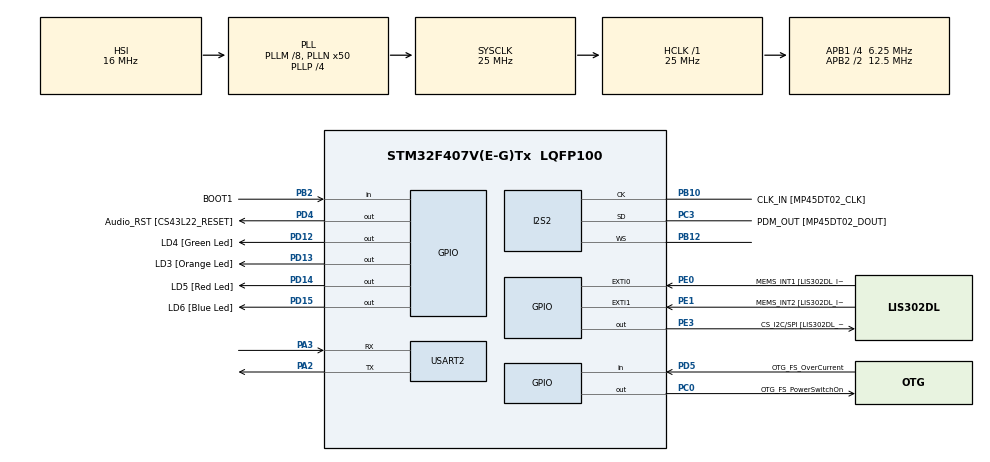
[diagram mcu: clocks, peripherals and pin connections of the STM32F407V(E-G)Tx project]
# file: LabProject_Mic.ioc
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I2S2.AudioFreq=I2S_AUDIOFREQ_192K
I2S2.ErrorAudioFreq=0.8 %
I2S2.Mode=I2S_MODE_MASTER_RX
I2S2.RealAudioFreq=193.548 KHz
Mcu.Family=STM32F4
Mcu.Name=STM32F407V(E-G)Tx
Mcu.Package=LQFP100
NVIC.PriorityGroup=NVIC_PRIORITYGROUP_0
PA10.GPIO_Label=OTG_FS_ID
PA10.GPIO_Mode=GPIO_MODE_AF_PP
PA10.GPIO_PuPd=GPIO_NOPULL
PA10.GPIO_Speed=GPIO_SPEED_FREQ_LOW
PA10.Signal=USB_OTG_FS_ID
PA11.GPIO_Label=OTG_FS_DM
PA11.GPIO_Mode=GPIO_MODE_AF_PP
PA11.GPIO_PuPd=GPIO_NOPULL
PA11.GPIO_Speed=GPIO_SPEED_FREQ_LOW
PA11.Signal=USB_OTG_FS_DM
PA12.GPIO_Label=OTG_FS_DP
PA12.GPIO_Mode=GPIO_MODE_AF_PP
PA12.GPIO_PuPd=GPIO_NOPULL
PA12.GPIO_Speed=GPIO_SPEED_FREQ_LOW
PA12.Signal=USB_OTG_FS_DP
PA13.GPIO_Label=SWDIO
PA13.Signal=SYS_JTMS-SWDIO
PA14.GPIO_Label=SWCLK
PA14.Signal=SYS_JTCK-SWCLK
PA2.Mode=Asynchronous
PA2.Signal=USART2_TX
PA3.Mode=Asynchronous
PA3.Signal=USART2_RX
PA4.GPIO_Label=I2S3_WS [CS43L22_LRCK]
PA4.GPIO_Mode=GPIO_MODE_AF_PP
PA4.GPIO_PuPd=GPIO_NOPULL
PA4.GPIO_Speed=GPIO_SPEED_FREQ_LOW
PA4.Signal=I2S3_WS
PA5.GPIO_Label=SPI1_SCK [LIS302DL_SCL/SPC]
PA5.GPIO_Mode=GPIO_MODE_AF_PP
PA5.GPIO_PuPd=GPIO_NOPULL
PA5.GPIO_Speed=GPIO_SPEED_FREQ_LOW
PA5.Signal=SPI1_SCK
PA6.GPIO_Label=SPI1_MISO [LIS302DL_SDO]
PA6.GPIO_Mode=GPIO_MODE_AF_PP
PA6.GPIO_PuPd=GPIO_NOPULL
PA6.GPIO_Speed=GPIO_SPEED_FREQ_LOW
PA6.Signal=SPI1_MISO
PA7.GPIO_Label=SPI1_MOSI [LIS302DL_SDA/SDI/SDO]
PA7.GPIO_Mode=GPIO_MODE_AF_PP
PA7.GPIO_PuPd=GPIO_NOPULL
PA7.GPIO_Speed=GPIO_SPEED_FREQ_LOW
PA7.Signal=SPI1_MOSI
PA9.GPIO_Label=VBUS_FS
PA9.GPIO_Mode=GPIO_MODE_INPUT
PA9.GPIO_PuPd=GPIO_NOPULL
PA9.Signal=USB_OTG_FS_VBUS
PB10.GPIO_Label=CLK_IN [MP45DT02_CLK]
PB10.GPIO_Mode=GPIO_MODE_AF_PP
PB10.GPIO_PuPd=GPIO_NOPULL
PB10.GPIO_Speed=GPIO_SPEED_FREQ_LOW
PB10.Mode=Half_Duplex_Master
PB10.Signal=I2S2_CK
PB12.Mode=Half_Duplex_Master
PB12.Signal=I2S2_WS
PB2.GPIO_Label=BOOT1
PB2.GPIO_Mode=GPIO_MODE_INPUT
PB2.GPIO_PuPd=GPIO_NOPULL
PB2.Signal=GPIO_Input
PB3.GPIO_Label=SWO
PB3.Signal=SYS_JTDO-SWO
PB6.GPIO_Label=Audio_SCL [CS43L22_SCL]
PB6.GPIO_Mode=GPIO_MODE_AF_OD
PB6.GPIO_PuPd=GPIO_NOPULL
PB6.GPIO_Speed=GPIO_SPEED_FREQ_LOW
PB6.Signal=I2C1_SCL
PB9.GPIO_Label=Audio_SDA [CS43L22_SDA]
PB9.GPIO_Mode=GPIO_MODE_AF_OD
PB9.GPIO_PuPd=GPIO_NOPULL
PB9.GPIO_Speed=GPIO_SPEED_FREQ_LOW
PB9.Signal=I2C1_SDA
PC0.GPIO_Label=OTG_FS_PowerSwitchOn
PC0.GPIO_PuPd=GPIO_NOPULL
PC0.GPIO_Speed=GPIO_SPEED_FREQ_LOW
PC0.PinState=GPIO_PIN_SET
PC0.Signal=GPIO_Output
PC10.GPIO_Label=I2S3_SCK [CS43L22_SCLK]
PC10.GPIO_Mode=GPIO_MODE_AF_PP
PC10.GPIO_PuPd=GPIO_NOPULL
PC10.GPIO_Speed=GPIO_SPEED_FREQ_LOW
PC10.Signal=I2S3_CK
PC12.GPIO_Label=I2S3_SD [CS43L22_SDIN]
PC12.GPIO_Mode=GPIO_MODE_AF_PP
PC12.GPIO_PuPd=GPIO_NOPULL
PC12.GPIO_Speed=GPIO_SPEED_FREQ_LOW
PC12.Signal=I2S3_SD
PC14-OSC32_IN.GPIO_Label=PC14-OSC32_IN
PC14-OSC32_IN.Signal=RCC_OSC32_IN
PC15-OSC32_OUT.GPIO_Label=PC15-OSC32_OUT
PC15-OSC32_OUT.Signal=RCC_OSC32_OUT
PC3.GPIO_Label=PDM_OUT [MP45DT02_DOUT]
PC3.GPIO_Mode=GPIO_MODE_AF_PP
PC3.GPIO_PuPd=GPIO_NOPULL
PC3.GPIO_Speed=GPIO_SPEED_FREQ_LOW
PC3.Mode=Half_Duplex_Master
PC3.Signal=I2S2_SD
PC7.GPIO_Label=I2S3_MCK [CS43L22_MCLK]
PC7.GPIO_Mode=GPIO_MODE_AF_PP
PC7.GPIO_PuPd=GPIO_NOPULL
PC7.GPIO_Speed=GPIO_SPEED_FREQ_LOW
PC7.Signal=I2S3_MCK
PD12.GPIO_Label=LD4 [Green Led]
PD12.GPIO_PuPd=GPIO_NOPULL
PD12.GPIO_Speed=GPIO_SPEED_FREQ_LOW
PD12.Signal=GPIO_Output
PD13.GPIO_Label=LD3 [Orange Led]
PD13.GPIO_PuPd=GPIO_NOPULL
PD13.GPIO_Speed=GPIO_SPEED_FREQ_LOW
PD13.Signal=GPIO_Output
PD14.GPIO_Label=LD5 [Red Led]
PD14.GPIO_PuPd=GPIO_NOPULL
PD14.GPIO_Speed=GPIO_SPEED_FREQ_LOW
PD14.Signal=GPIO_Output
PD15.GPIO_Label=LD6 [Blue Led]
PD15.GPIO_PuPd=GPIO_NOPULL
PD15.GPIO_Speed=GPIO_SPEED_FREQ_LOW
PD15.Signal=GPIO_Output
PD4.GPIO_Label=Audio_RST [CS43L22_RESET]
PD4.GPIO_PuPd=GPIO_NOPULL
PD4.GPIO_Speed=GPIO_SPEED_FREQ_LOW
PD4.Signal=GPIO_Output
PD5.GPIO_Label=OTG_FS_OverCurrent
PD5.GPIO_Mode=GPIO_MODE_INPUT
PD5.GPIO_PuPd=GPIO_NOPULL
PD5.Signal=GPIO_Input
PE0.GPIO_Label=MEMS_INT1 [LIS302DL_INT1]
PE0.Signal=GPXTI0
PE1.GPIO_Label=MEMS_INT2 [LIS302DL_INT2]
PE1.GPIO_ModeDefaultEXTI=GPIO_MODE_EVT_RISING
PE1.GPIO_PuPd=GPIO_NOPULL
PE1.Signal=GPXTI1
PE3.GPIO_Label=CS_I2C/SPI [LIS302DL_CS_I2C/SPI]
PE3.GPIO_PuPd=GPIO_NOPULL
PE3.GPIO_Speed=GPIO_SPEED_FREQ_LOW
PE3.Signal=GPIO_Output
PH0-OSC_IN.GPIO_Label=PH0-OSC_IN
PH0-OSC_IN.Signal=RCC_OSC_IN
PH1-OSC_OUT.GPIO_Label=PH1-OSC_OUT
PH1-OSC_OUT.Signal=RCC_OSC_OUT
ProjectManager.HeapSize=0x200
ProjectManager.StackSize=0x400
ProjectManager.TargetToolchain=SW4STM32
RCC.48MHZClocksFreq_Value=14285714.285714285
RCC.AHBFreq_Value=25000000
RCC.APB1CLKDivider=RCC_HCLK_DIV4
RCC.APB1Freq_Value=6250000
RCC.APB1TimFreq_Value=12500000
RCC.APB2CLKDivider=RCC_HCLK_DIV2
RCC.APB2Freq_Value=12500000
RCC.APB2TimFreq_Value=25000000
RCC.CortexFreq_Value=25000000
RCC.HCLKFreq_Value=25000000
RCC.HSE_VALUE=8000000
RCC.HSI_VALUE=16000000
RCC.LSE_VALUE=32768
RCC.PLLM=8
RCC.PLLN=50
RCC.PLLP=RCC_PLLP_DIV4
RCC.PLLQ=7
RCC.SYSCLKFreq_VALUE=25000000
RCC.SYSCLKSource=RCC_SYSCLKSOURCE_PLLCLK
RCC.VCOOutputFreq_Value=100000000
board=STM32F407G-DISC1

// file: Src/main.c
/**
  ******************************************************************************
  * File Name          : main.c
  * Description        : Main program body
  ******************************************************************************
  *
  * COPYRIGHT(c) 2016 STMicroelectronics
  *
  * Redistribution and use in source and binary forms, with or without modification,
  * are permitted provided that the following conditions are met:
  *   1. Redistributions of source code must retain the above copyright notice,
  *      this list of conditions and the following disclaimer.
  *   2. Redistributions in binary form must reproduce the above copyright notice,
  *      this list of conditions and the following disclaimer in the documentation
  *      and/or other materials provided with the distribution.
  *   3. Neither the name of STMicroelectronics nor the names of its contributors
  *      may be used to endorse or promote products derived from this software
  *      without specific prior written permission.
  *
  * THIS SOFTWARE IS PROVIDED BY THE COPYRIGHT HOLDERS AND CONTRIBUTORS "AS IS"
  * AND ANY EXPRESS OR IMPLIED WARRANTIES, INCLUDING, BUT NOT LIMITED TO, THE
  * IMPLIED WARRANTIES OF MERCHANTABILITY AND FITNESS FOR A PARTICULAR PURPOSE ARE
  * DISCLAIMED. IN NO EVENT SHALL THE COPYRIGHT HOLDER OR CONTRIBUTORS BE LIABLE
  * FOR ANY DIRECT, INDIRECT, INCIDENTAL, SPECIAL, EXEMPLARY, OR CONSEQUENTIAL
  * DAMAGES (INCLUDING, BUT NOT LIMITED TO, PROCUREMENT OF SUBSTITUTE GOODS OR
  * SERVICES; LOSS OF USE, DATA, OR PROFITS; OR BUSINESS INTERRUPTION) HOWEVER
  * CAUSED AND ON ANY THEORY OF LIABILITY, WHETHER IN CONTRACT, STRICT LIABILITY,
  * OR TORT (INCLUDING NEGLIGENCE OR OTHERWISE) ARISING IN ANY WAY OUT OF THE USE
  * OF THIS SOFTWARE, EVEN IF ADVISED OF THE POSSIBILITY OF SUCH DAMAGE.
  *
  ******************************************************************************
  */
#include "main.h"
#include "stm32f4xx_hal.h"

I2S_HandleTypeDef hi2s2;

UART_HandleTypeDef huart2;

/* USER CODE BEGIN PV */
/* Private variables ---------------------------------------------------------*/

/* USER CODE END PV */

void SystemClock_Config(void);
void Error_Handler(void);
static void MX_GPIO_Init(void);
static void MX_I2S2_Init(void);
static void MX_USART2_UART_Init(void);

/* USER CODE BEGIN PFP */
/* Private function prototypes -----------------------------------------------*/

/* USER CODE END PFP */

/* USER CODE BEGIN 0 */

float float_abs(float in){
	return in < 0 ? -in : in;
}

#define PDM_BUFFER_SIZE 200
#define PCM_BUFFER_SIZE 20
#define LEAKY_KEEP_RATE 0.95
#define UART_DEBUG_TICK_RATE 100
#define PDM_BLOCK_SIZE_BITS 8

/* USER CODE END 0 */

int main(void)
{

  /* USER CODE BEGIN 1 */
  uint8_t i;
  uint16_t pdm_buffer[PDM_BUFFER_SIZE]; // Buffer for pdm value from hi2s2 (Mic)
  uint16_t pdm_value = 0;				// For keeping pcm value calculated from pdm_value
  int8_t pcm_value = 0;				// value range is -127 to 127
  int pcm_count = 0 ;
  char uart_temp_display_buffer[100];

  float leaky_pcm_buffer = 0.0;			// Fast Estimation of moving average of PDM
  float leaky_amp_buffer = 0.0; 		// Fast Estimation of moving average of abs(PCM)

  float max_amp = 0;

  /* USER CODE END 1 */

  /* MCU Configuration----------------------------------------------------------*/

  /* Reset of all peripherals, Initializes the Flash interface and the Systick. */
  HAL_Init();

  /* Configure the system clock */
  SystemClock_Config();

  /* Initialize all configured peripherals */
  MX_GPIO_Init();
  MX_I2S2_Init();
  MX_USART2_UART_Init();

  /* Infinite loop */
  while (1)
  {

  /* USER CODE BEGIN 3 */
	  HAL_I2S_Receive(&hi2s2,pdm_buffer,PDM_BUFFER_SIZE,1000); // Receive PDM from Mic

	  for(i=0;i<PDM_BUFFER_SIZE;i++){
		  pcm_value = -PDM_BLOCK_SIZE_BITS/2;
		  pdm_value = pdm_buffer[i];
		  //calculate PCM value
		  while(pdm_value!=0){
			  pcm_value++;
			  pdm_value ^= pdm_value & -pdm_value;
		  }
		  leaky_pcm_buffer += pcm_value;
		  leaky_pcm_buffer *= LEAKY_KEEP_RATE;
		  leaky_amp_buffer += float_abs(leaky_pcm_buffer);
		  leaky_amp_buffer *= LEAKY_KEEP_RATE;
	  }
	  pcm_count++;
	  if (pcm_value > 9){ // if sound is loud enough (range 10-16)
		  HAL_GPIO_WritePin(GPIOD, GPIO_PIN_13, GPIO_PIN_SET);
	  }
	  else{
		  HAL_GPIO_WritePin(GPIOD, GPIO_PIN_13, GPIO_PIN_RESET);
	  }

	  if(max_amp<leaky_amp_buffer) max_amp = leaky_amp_buffer;

	  if(PCM_BUFFER_SIZE==pcm_count){
		  sprintf(uart_temp_display_buffer, "L : %d\t", (int)max_amp);
		  HAL_UART_Transmit(&huart2, (uint8_t*)uart_temp_display_buffer, strlen(uart_temp_display_buffer), 100);
		  max_amp = max_amp-1448;
		  while(max_amp>0){
			  max_amp=max_amp-74;
			  HAL_UART_Transmit(&huart2,"I", 1, 100);
		  }
		  HAL_UART_Transmit(&huart2, "\n\r", 2, 100);
		  max_amp = 0;
		  pcm_count=0;
	  }
	  //HAL_Delay(100);
  }
  /* USER CODE END 3 */

}

/** System Clock Configuration
*/
void SystemClock_Config(void)
{

  RCC_OscInitTypeDef RCC_OscInitStruct;
  RCC_ClkInitTypeDef RCC_ClkInitStruct;
  RCC_PeriphCLKInitTypeDef PeriphClkInitStruct;

    /**Configure the main internal regulator output voltage
    */
  __HAL_RCC_PWR_CLK_ENABLE();

  __HAL_PWR_VOLTAGESCALING_CONFIG(PWR_REGULATOR_VOLTAGE_SCALE1);

    /**Initializes the CPU, AHB and APB busses clocks
    */
  RCC_OscInitStruct.OscillatorType = RCC_OSCILLATORTYPE_HSI;
  RCC_OscInitStruct.HSIState = RCC_HSI_ON;
  RCC_OscInitStruct.HSICalibrationValue = 16;
  RCC_OscInitStruct.PLL.PLLState = RCC_PLL_ON;
  RCC_OscInitStruct.PLL.PLLSource = RCC_PLLSOURCE_HSI;
  RCC_OscInitStruct.PLL.PLLM = 8;
  RCC_OscInitStruct.PLL.PLLN = 50;
  RCC_OscInitStruct.PLL.PLLP = RCC_PLLP_DIV4;
  RCC_OscInitStruct.PLL.PLLQ = 7;
  if (HAL_RCC_OscConfig(&RCC_OscInitStruct) != HAL_OK)
  {
    Error_Handler();
  }

    /**Initializes the CPU, AHB and APB busses clocks
    */
  RCC_ClkInitStruct.ClockType = RCC_CLOCKTYPE_HCLK|RCC_CLOCKTYPE_SYSCLK
                              |RCC_CLOCKTYPE_PCLK1|RCC_CLOCKTYPE_PCLK2;
  RCC_ClkInitStruct.SYSCLKSource = RCC_SYSCLKSOURCE_PLLCLK;
  RCC_ClkInitStruct.AHBCLKDivider = RCC_SYSCLK_DIV1;
  RCC_ClkInitStruct.APB1CLKDivider = RCC_HCLK_DIV4;
  RCC_ClkInitStruct.APB2CLKDivider = RCC_HCLK_DIV2;

  if (HAL_RCC_ClockConfig(&RCC_ClkInitStruct, FLASH_LATENCY_0) != HAL_OK)
  {
    Error_Handler();
  }

  PeriphClkInitStruct.PeriphClockSelection = RCC_PERIPHCLK_I2S;
  PeriphClkInitStruct.PLLI2S.PLLI2SN = 192;
  PeriphClkInitStruct.PLLI2S.PLLI2SR = 2;
  if (HAL_RCCEx_PeriphCLKConfig(&PeriphClkInitStruct) != HAL_OK)
  {
    Error_Handler();
  }

    /**Configure the Systick interrupt time
    */
  HAL_SYSTICK_Config(HAL_RCC_GetHCLKFreq()/1000);

    /**Configure the Systick
    */
  HAL_SYSTICK_CLKSourceConfig(SYSTICK_CLKSOURCE_HCLK);

  /* SysTick_IRQn interrupt configuration */
  HAL_NVIC_SetPriority(SysTick_IRQn, 0, 0);
}

/* I2S2 init function */
static void MX_I2S2_Init(void)
{

  hi2s2.Instance = SPI2;
  hi2s2.Init.Mode = I2S_MODE_MASTER_RX;
  hi2s2.Init.Standard = I2S_STANDARD_PHILIPS;
  hi2s2.Init.DataFormat = I2S_DATAFORMAT_16B;
  hi2s2.Init.MCLKOutput = I2S_MCLKOUTPUT_DISABLE;
  hi2s2.Init.AudioFreq = I2S_AUDIOFREQ_44K;
  hi2s2.Init.CPOL = I2S_CPOL_LOW;
  hi2s2.Init.ClockSource = I2S_CLOCK_PLL;
  hi2s2.Init.FullDuplexMode = I2S_FULLDUPLEXMODE_DISABLE;
  if (HAL_I2S_Init(&hi2s2) != HAL_OK)
  {
    Error_Handler();
  }

}

/* USART2 init function */
static void MX_USART2_UART_Init(void)
{

  huart2.Instance = USART2;
  huart2.Init.BaudRate = 115200;
  huart2.Init.WordLength = UART_WORDLENGTH_8B;
  huart2.Init.StopBits = UART_STOPBITS_1;
  huart2.Init.Parity = UART_PARITY_NONE;
  huart2.Init.Mode = UART_MODE_TX_RX;
  huart2.Init.HwFlowCtl = UART_HWCONTROL_NONE;
  huart2.Init.OverSampling = UART_OVERSAMPLING_16;
  if (HAL_UART_Init(&huart2) != HAL_OK)
  {
    Error_Handler();
  }

}

/** Configure pins as
        * Analog
        * Input
        * Output
        * EVENT_OUT
        * EXTI
     PA4   ------> I2S3_WS
     PA5   ------> SPI1_SCK
     PA6   ------> SPI1_MISO
     PA7   ------> SPI1_MOSI
     PC7   ------> I2S3_MCK
     PA9   ------> USB_OTG_FS_VBUS
     PA10   ------> USB_OTG_FS_ID
     PA11   ------> USB_OTG_FS_DM
     PA12   ------> USB_OTG_FS_DP
     PC10   ------> I2S3_CK
     PC12   ------> I2S3_SD
     PB6   ------> I2C1_SCL
     PB9   ------> I2C1_SDA
*/
static void MX_GPIO_Init(void)
{

  GPIO_InitTypeDef GPIO_InitStruct;

  /* GPIO Ports Clock Enable */
  __HAL_RCC_GPIOE_CLK_ENABLE();
  __HAL_RCC_GPIOC_CLK_ENABLE();
  __HAL_RCC_GPIOH_CLK_ENABLE();
  __HAL_RCC_GPIOA_CLK_ENABLE();
  __HAL_RCC_GPIOB_CLK_ENABLE();
  __HAL_RCC_GPIOD_CLK_ENABLE();

  /*Configure GPIO pin Output Level */
  HAL_GPIO_WritePin(CS_I2C_SPI_GPIO_Port, CS_I2C_SPI_Pin, GPIO_PIN_RESET);

  /*Configure GPIO pin Output Level */
  HAL_GPIO_WritePin(OTG_FS_PowerSwitchOn_GPIO_Port, OTG_FS_PowerSwitchOn_Pin, GPIO_PIN_SET);

  /*Configure GPIO pin Output Level */
  HAL_GPIO_WritePin(GPIOD, LD4_Pin|LD3_Pin|LD5_Pin|LD6_Pin
                          |Audio_RST_Pin, GPIO_PIN_RESET);

  /*Configure GPIO pin : CS_I2C_SPI_Pin */
  GPIO_InitStruct.Pin = CS_I2C_SPI_Pin;
  GPIO_InitStruct.Mode = GPIO_MODE_OUTPUT_PP;
  GPIO_InitStruct.Pull = GPIO_NOPULL;
  GPIO_InitStruct.Speed = GPIO_SPEED_FREQ_LOW;
  HAL_GPIO_Init(CS_I2C_SPI_GPIO_Port, &GPIO_InitStruct);

  /*Configure GPIO pin : OTG_FS_PowerSwitchOn_Pin */
  GPIO_InitStruct.Pin = OTG_FS_PowerSwitchOn_Pin;
  GPIO_InitStruct.Mode = GPIO_MODE_OUTPUT_PP;
  GPIO_InitStruct.Pull = GPIO_NOPULL;
  GPIO_InitStruct.Speed = GPIO_SPEED_FREQ_LOW;
  HAL_GPIO_Init(OTG_FS_PowerSwitchOn_GPIO_Port, &GPIO_InitStruct);

  /*Configure GPIO pin : PA4 */
  GPIO_InitStruct.Pin = GPIO_PIN_4;
  GPIO_InitStruct.Mode = GPIO_MODE_AF_PP;
  GPIO_InitStruct.Pull = GPIO_NOPULL;
  GPIO_InitStruct.Speed = GPIO_SPEED_FREQ_LOW;
  GPIO_InitStruct.Alternate = GPIO_AF6_SPI3;
  HAL_GPIO_Init(GPIOA, &GPIO_InitStruct);

  /*Configure GPIO pins : PA5 PA6 PA7 */
  GPIO_InitStruct.Pin = GPIO_PIN_5|GPIO_PIN_6|GPIO_PIN_7;
  GPIO_InitStruct.Mode = GPIO_MODE_AF_PP;
  GPIO_InitStruct.Pull = GPIO_NOPULL;
  GPIO_InitStruct.Speed = GPIO_SPEED_FREQ_LOW;
  GPIO_InitStruct.Alternate = GPIO_AF5_SPI1;
  HAL_GPIO_Init(GPIOA, &GPIO_InitStruct);

  /*Configure GPIO pin : BOOT1_Pin */
  GPIO_InitStruct.Pin = BOOT1_Pin;
  GPIO_InitStruct.Mode = GPIO_MODE_INPUT;
  GPIO_InitStruct.Pull = GPIO_NOPULL;
  HAL_GPIO_Init(BOOT1_GPIO_Port, &GPIO_InitStruct);

  /*Configure GPIO pins : LD4_Pin LD3_Pin LD5_Pin LD6_Pin
                           Audio_RST_Pin */
  GPIO_InitStruct.Pin = LD4_Pin|LD3_Pin|LD5_Pin|LD6_Pin
                          |Audio_RST_Pin;
  GPIO_InitStruct.Mode = GPIO_MODE_OUTPUT_PP;
  GPIO_InitStruct.Pull = GPIO_NOPULL;
  GPIO_InitStruct.Speed = GPIO_SPEED_FREQ_LOW;
  HAL_GPIO_Init(GPIOD, &GPIO_InitStruct);

  /*Configure GPIO pins : PC7 I2S3_SCK_Pin PC12 */
  GPIO_InitStruct.Pin = GPIO_PIN_7|I2S3_SCK_Pin|GPIO_PIN_12;
  GPIO_InitStruct.Mode = GPIO_MODE_AF_PP;
  GPIO_InitStruct.Pull = GPIO_NOPULL;
  GPIO_InitStruct.Speed = GPIO_SPEED_FREQ_LOW;
  GPIO_InitStruct.Alternate = GPIO_AF6_SPI3;
  HAL_GPIO_Init(GPIOC, &GPIO_InitStruct);

  /*Configure GPIO pin : VBUS_FS_Pin */
  GPIO_InitStruct.Pin = VBUS_FS_Pin;
  GPIO_InitStruct.Mode = GPIO_MODE_INPUT;
  GPIO_InitStruct.Pull = GPIO_NOPULL;
  HAL_GPIO_Init(VBUS_FS_GPIO_Port, &GPIO_InitStruct);

  /*Configure GPIO pins : OTG_FS_ID_Pin OTG_FS_DM_Pin OTG_FS_DP_Pin */
  GPIO_InitStruct.Pin = OTG_FS_ID_Pin|OTG_FS_DM_Pin|OTG_FS_DP_Pin;
  GPIO_InitStruct.Mode = GPIO_MODE_AF_PP;
  GPIO_InitStruct.Pull = GPIO_NOPULL;
  GPIO_InitStruct.Speed = GPIO_SPEED_FREQ_LOW;
  GPIO_InitStruct.Alternate = GPIO_AF10_OTG_FS;
  HAL_GPIO_Init(GPIOA, &GPIO_InitStruct);

  /*Configure GPIO pin : OTG_FS_OverCurrent_Pin */
  GPIO_InitStruct.Pin = OTG_FS_OverCurrent_Pin;
  GPIO_InitStruct.Mode = GPIO_MODE_INPUT;
  GPIO_InitStruct.Pull = GPIO_NOPULL;
  HAL_GPIO_Init(OTG_FS_OverCurrent_GPIO_Port, &GPIO_InitStruct);

  /*Configure GPIO pins : Audio_SCL_Pin Audio_SDA_Pin */
  GPIO_InitStruct.Pin = Audio_SCL_Pin|Audio_SDA_Pin;
  GPIO_InitStruct.Mode = GPIO_MODE_AF_OD;
  GPIO_InitStruct.Pull = GPIO_PULLUP;
  GPIO_InitStruct.Speed = GPIO_SPEED_FREQ_LOW;
  GPIO_InitStruct.Alternate = GPIO_AF4_I2C1;
  HAL_GPIO_Init(GPIOB, &GPIO_InitStruct);

  /*Configure GPIO pin : MEMS_INT1_Pin */
  GPIO_InitStruct.Pin = MEMS_INT1_Pin;
  GPIO_InitStruct.Mode = GPIO_MODE_IT_RISING;
  GPIO_InitStruct.Pull = GPIO_NOPULL;
  HAL_GPIO_Init(MEMS_INT1_GPIO_Port, &GPIO_InitStruct);

  /*Configure GPIO pin : MEMS_INT2_Pin */
  GPIO_InitStruct.Pin = MEMS_INT2_Pin;
  GPIO_InitStruct.Mode = GPIO_MODE_EVT_RISING;
  GPIO_InitStruct.Pull = GPIO_NOPULL;
  HAL_GPIO_Init(MEMS_INT2_GPIO_Port, &GPIO_InitStruct);

}

void Error_Handler(void)
{
  while(1)
  {
  }
}

/************************ (C) COPYRIGHT STMicroelectronics *****END OF FILE****/
